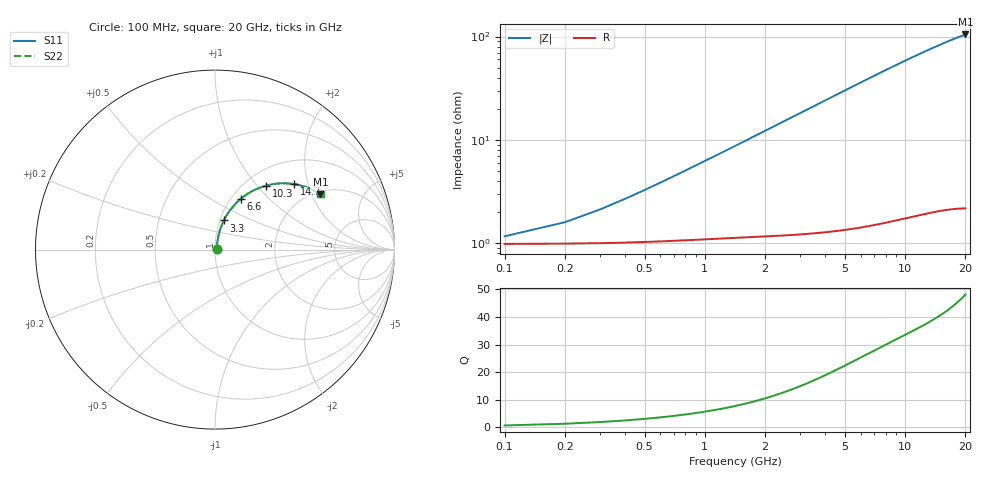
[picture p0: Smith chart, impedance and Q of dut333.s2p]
! Touchstone file exported from HFSS 2026.1.0
!  File:  C:/ffzhzh/LocalFiles/Ansys_Project_Files/temp_train_BSMRDL_333_1783011046_53980.aedt
!  Generated:  12:52:21 AM Jul  3, 2026
!  Design:  BSMRDL
!  Project:  temp_train_BSMRDL_333_1783011046_53980
! Variables:
!  h_bsmrdl = 2.89um
!  h_ox = 20um
!  h_rdl = 5um
!  h_sub = 80um
!  h_tmrdl = 5um
!  h_tsv = 80um
!  h_via = 3um
!  l_bsmrdl = 846.11um
!  l_sub = 1246.11um
!  l_tmrdl = 200um
!  m_sub = 200um
!  pitch = 55.04um
!  r_tsv = 6um
!  s_tmrdl = 10um
!  w_bsmrdl = 10.48um
!  w_sub = 500um
!  w_tmrdl = 12um
!  x_tsv_center1 = 206um
!  x_tsv_center2 = 1062.59um
!  x_tsv_center3 = 1274.59um
!  x_tsv_center4 = 2131.18um
!  x_tsv_center5 = 2343.18um
!  x_tsv_center6 = 3199.77um
# GHz S MA R 50.000000
! Terminal data exported
! Port[1] = BSM_RDL1_1_T1
! Port[2] = BSM_RDL1_1_T2
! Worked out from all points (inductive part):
!   200 points, 100 MHz to 20 GHz, reference 50 ohm
!   read as one part in series: L = 985 pH near 500 MHz
!   highest Q = 48.2 at 20 GHz (marker M1), where L = 833 pH
!   S11 on the Smith chart (normalised r, x): 100 MHz: 1.02, +0.01; 3.3 GHz: 1.04, +0.35; 6.6 GHz: 1.11, +0.70; 10.3 GHz: 1.24, +1.11; 14.7 GHz: 1.51, +1.64; 20 GHz: 2.11, +2.32
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0.1  0.01116 28.7  0.9902 -0.4  0.9902 -0.4  0.01116 28.7
! Gamma 0 0 0 0
! Port Impedance 50 0 50 0
0.3  0.01899 57.3  0.99 -1.2  0.99 -1.2  0.01899 57.3
0.4  0.02375 63.4  0.9897 -1.6  0.9897 -1.6  0.02375 63.4
0.5  0.02869 67.2  0.9895 -2.0  0.9895 -2.0  0.02869 67.2
0.6  0.03371 69.8  0.9892 -2.4  0.9892 -2.4  0.03371 69.8
0.8  0.04384 72.9  0.9885 -3.2  0.9885 -3.2  0.04384 72.9
1.1  0.05909 75.1  0.9875 -4.3  0.9875 -4.3  0.05909 75.1
1.5  0.07943 76.0  0.9857 -5.9  0.9857 -5.9  0.07943 76.0
2  0.1048 75.9  0.9831 -7.8  0.9831 -7.8  0.1048 75.9
2.6  0.1349 74.9  0.9792 -10.1  0.9792 -10.1  0.1349 74.9
3.3  0.1695 73.2  0.9736 -12.7  0.9736 -12.7  0.1695 73.2
3.5  0.1792 72.6  0.9718 -13.5  0.9718 -13.5  0.1792 72.6
4.9  0.2453 68.4  0.9567 -18.7  0.9567 -18.7  0.2453 68.3
6.6  0.3196 62.9  0.9339 -24.7  0.9339 -24.7  0.3196 62.8
6.8  0.3279 62.2  0.931 -25.4  0.931 -25.4  0.3279 62.2
8.3  0.3866 57.5  0.9077 -30.4  0.9077 -30.4  0.3866 57.4
10.1  0.4491 52.0  0.8781 -36.0  0.8781 -36.0  0.4491 52.0
10.3  0.4555 51.4  0.8748 -36.6  0.8748 -36.6  0.4555 51.4
13.4  0.5425 42.9  0.8236 -45.4  0.8236 -45.4  0.5425 42.8
14.7  0.5725 39.6  0.8032 -48.8  0.8032 -48.8  0.5726 39.5
16.7  0.6123 34.8  0.7738 -53.6  0.7738 -53.6  0.6123 34.8
20  0.6633 27.7  0.7315 -61.0  0.7315 -61.0  0.6634 27.6
